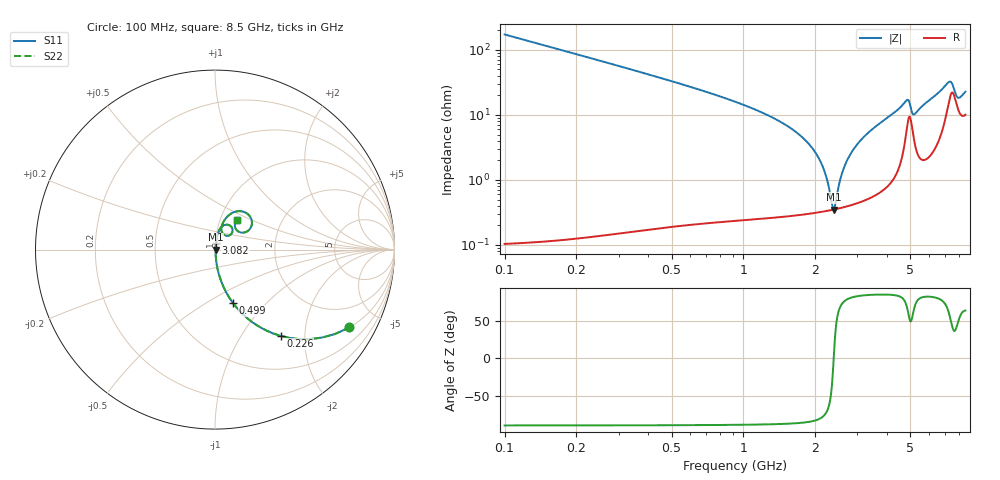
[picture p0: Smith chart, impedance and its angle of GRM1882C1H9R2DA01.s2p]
!Murata Part Number: GRM1882C1H9R2DA01
!These Parameters are Measured in Series Mode Connection
!Data Generated on Mar 30, 2021
!  o--ll--o
!Port1  Port2
!  o------o
!Operation Temp=25[degC], DC Bias Voltage=0[V]
!Freq. Start=100[MHz] Stop=9[GHz] 401[Steps]
# Hz S RI R 50
!Freq.(Hz) S11(Real) S11(Imag) S21(Real) S21(Imag) S12(Real) S12(Imag) S22(Real) S22(Imag)
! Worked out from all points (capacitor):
!   401 points, 100 MHz to 8.5 GHz, reference 50 ohm
!   read as one part in series: C = 9.2 pF near 142 MHz
!   lowest |Z| = 351 mohm at 2.389 GHz (marker M1)
!   series resonance near 2.388 GHz, so ESL is about 480 pH
!   S11 on the Smith chart (normalised r, x): 100 MHz: 1.00, -3.45; 226 MHz: 1.00, -1.52; 499 MHz: 1.00, -0.66; 3.082 GHz: 1.01, +0.08; 8.5 GHz: 1.20, +0.41
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1e8  0.7487 -0.4335  0.2513 0.4335  0.2513 0.4335  0.7487 -0.4335
2.26e8  0.3652 -0.4806  0.6348 0.4806  0.6348 0.4806  0.3652 -0.4806
3.31e8  0.2086 -0.4047  0.7914 0.4047  0.7914 0.4047  0.2086 -0.4047
4.99e8  0.1003 -0.2975  0.8997 0.2975  0.8997 0.2975  0.1003 -0.2975
8.98e8  0.0288 -0.1605  0.9712 0.1605  0.9712 0.1605  0.0288 -0.1605
1.507e9  0.00753 -0.069  0.9925 0.069  0.9925 0.069  0.00753 -0.069
1.822e9  0.00457 -0.04  0.9954 0.04  0.9954 0.04  0.00457 -0.04
2.053e9  0.00365 -0.0223  0.9963 0.0223  0.9963 0.0223  0.00365 -0.0223
2.2e9  0.00344 -0.0121  0.9966 0.0121  0.9966 0.0121  0.00344 -0.0121
2.347e9  0.00345 -0.00256  0.9965 0.00256  0.9965 0.00256  0.00345 -0.00256
2.389e9  0.00349 7.13e-05  0.9965 -7.13e-05  0.9965 -7.13e-05  0.00349 7.13e-05
2.62e9  0.00397 0.0139  0.996 -0.0139  0.996 -0.0139  0.00397 0.0139
2.914e9  0.00515 0.0303  0.9949 -0.0303  0.9949 -0.0303  0.00515 0.0303
3.082e9  0.00608 0.0393  0.9939 -0.0393  0.9939 -0.0393  0.00608 0.0393
4.3e9  0.0224 0.1058  0.9776 -0.1058  0.9776 -0.1058  0.0224 0.1058
4.825e9  0.0758 0.1374  0.9242 -0.1374  0.9242 -0.1374  0.0758 0.1374
5.161e9  0.0502 0.0825  0.9498 -0.0825  0.9498 -0.0825  0.0502 0.0825
5.707e9  0.0389 0.1353  0.9611 -0.1353  0.9611 -0.1353  0.0389 0.1353
7.114e9  0.1548 0.212  0.8452 -0.212  0.8452 -0.212  0.1548 0.212
7.408e9  0.2055 0.156  0.7945 -0.156  0.7945 -0.156  0.2055 0.156
7.891e9  0.1251 0.1044  0.8749 -0.1044  0.8749 -0.1044  0.1251 0.1044
8.5e9  0.1216 0.1628  0.8784 -0.1628  0.8784 -0.1628  0.1216 0.1628
